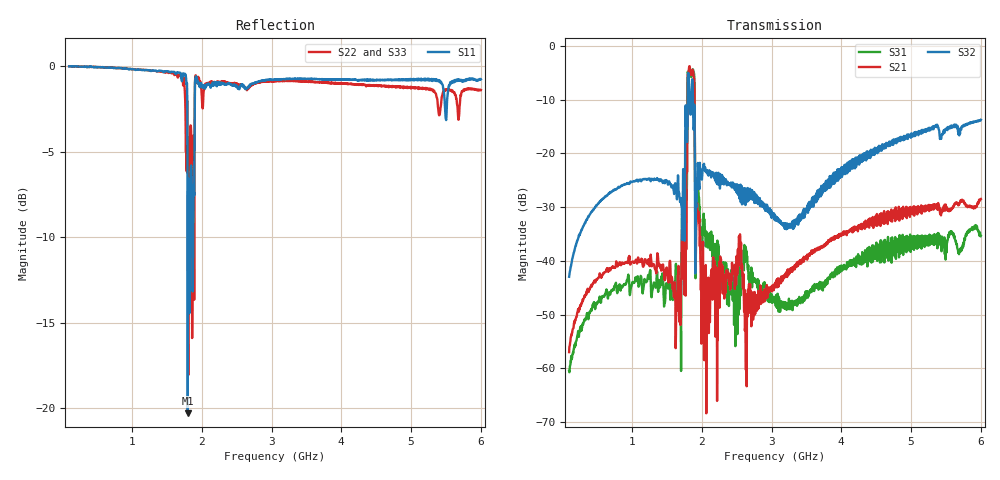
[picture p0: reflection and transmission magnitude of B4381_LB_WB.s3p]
! Matrix data file written by TouchstoneData, EPCOS AG
! FILENAME: "newformat_LY67A_Filter2_1_WB.s3p"
! COMMENT: "(LY67A_Filter2_1_WB.s3p) Epcos AG 17.01.2012"
! INFO: nport=3, nfreq=1601
! DATE: "Wed Feb  8 11:20:32 2012"
! USER: "Michael Schemies"
! port | pin | signal
!  1  |  4  |  in
!  2  |  6  |  out
!  3  |  7  |  out
# MHZ S MA R 50
! freq  magS11 angS11  magS12 angS12  magS13 angS13  ...
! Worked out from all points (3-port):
!   1601 points, 100 MHz to 6 GHz, reference 50 ohm
!   strongest paths, dB at 100 MHz, 1.575 GHz, 3.05 GHz, 4.525 GHz, 6 GHz:
!     S32: -42.9, -26.2, -31.5, -18.8, -13.7
!     S21: -57.0, -43.2, -44.2, -32.3, -28.5
!     S31: -60.5, -45.6, -47.7, -37.7, -35.3
!   lowest |S11| = -20.3 dB at 1.8 GHz (marker M1), VSWR 1.21, Z = 43.6 - j6.48 ohm
!   |S11| at or under -10 dB: 1.797342 GHz to 1.803028 GHz (5.686 MHz wide, 0.316 % of centre); 1.817 GHz to 1.831 GHz (14.06 MHz wide, 0.771 % of centre); 1.865 GHz to 1.878 GHz (13.15 MHz wide, 0.703 % of centre)
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100  0.9984 -7.5  0.00141 76.4  0.000953 80.3
     0.001418 76.3  0.9986 -4.4  0.007128 82.9
     0.0009461 80.5  0.007124 83.0  0.9976 -4.4
800.625  0.9882 -55.0  0.00911 48.6  0.005497 50.7
         0.00911 48.7  0.9878 -33.8  0.04824 57.1
         0.005509 50.7  0.04815 57.0  0.9885 -33.9
1674.562  0.9573 -110.9  0.003336 20.2  0.005549 14.7
          0.003333 20.3  0.943 -77.2  0.0433 30.4
          0.005543 14.7  0.04318 30.4  0.9487 -74.8
1729.875  0.9486 -120.7  0.02008 160.6  0.02821 13.5
          0.02009 160.6  0.9093 -89.1  0.03929 106.7
          0.02819 13.4  0.03935 106.7  0.9042 -85.7
1799.938  0.09674 -130.6  0.5354 -167.9  0.5743 12.6
          0.5361 -167.8  0.4583 -154.8  0.331 172.5
          0.5751 12.8  0.331 172.6  0.3983 -152.2
1870  0.2197 132.4  0.6012 -62.5  0.6025 116.4
      0.6006 -62.5  0.3911 3.8  0.4268 44.7
      0.6028 116.3  0.4275 44.7  0.384 -0.8
1936.375  0.9075 -69.0  0.0326 -141.1  0.04281 45.1
          0.03268 -140.9  0.8969 -46.6  0.06109 82.1
          0.0428 45.1  0.06125 82.1  0.9053 -44.9
2061.75  0.8765 -91.4  0.004704 94.9  0.01537 23.4
         0.004714 94.9  0.8891 -62.6  0.07023 39.2
         0.01537 23.3  0.07022 39.2  0.8928 -59.9
3050  0.9115 -122.4  0.00619 101.9  0.004115 35.4
      0.006173 101.9  0.904 -94.6  0.0266 46.1
      0.004105 35.3  0.02656 46.1  0.9038 -89.7
6000  0.9146 -178.6  0.03777 92.0  0.01716 58.6
      0.03773 92.0  0.8525 -157.9  0.2047 101.3
      0.01712 58.6  0.2054 101.2  0.8558 -158.6
